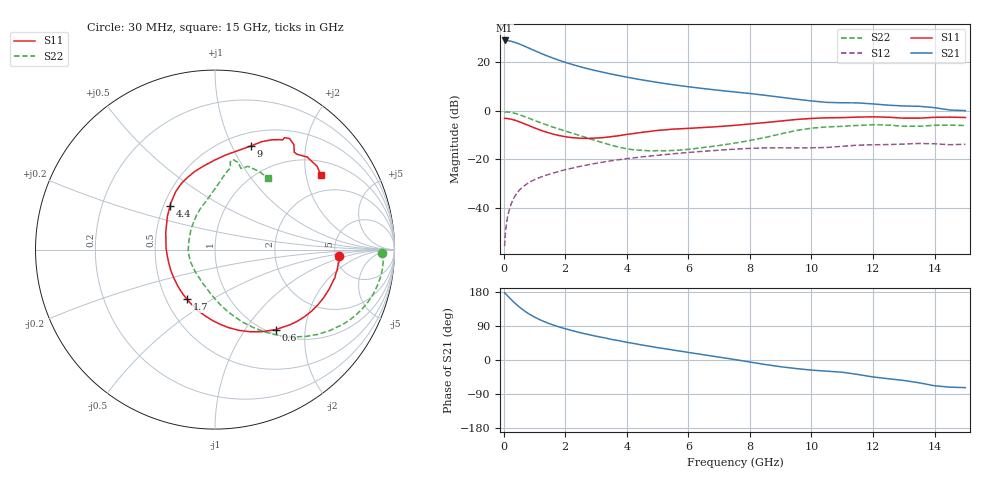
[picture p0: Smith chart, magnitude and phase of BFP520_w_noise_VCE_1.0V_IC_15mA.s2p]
! Infineon Technologies  Discrete & RF Semiconductors
! BFP520
! VCE =  1.0 V,  IC =  15 mA
! Common Emitter S-Parameters:  Oct 2015
# GHz  S  MA  R  50
!  f  S11  S21  S12  S22
! GHz  MAG  ANG  MAG  ANG  MAG  ANG  MAG  ANG
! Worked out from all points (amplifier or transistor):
!   109 points, 30 MHz to 15 GHz, reference 50 ohm
!   highest |S21| = 29.0 dB at 30 MHz (marker M1)
!   |S21| within 3 dB of that: start of sweep to 790.5 MHz
!   unconditionally stable (mu >= 1): 2.888 GHz to end of sweep
!   at 450 MHz: K = 0.30, MSG = 30.7 dB, |S12| = -33.7 dB
!   at 4 GHz: K = 1.10, MAG = 14.9 dB, |S12| = -19.8 dB
!   at 15 GHz: K = 1.28, MAG = 3.8 dB, |S12| = -13.9 dB
!   lowest NFmin = 1.81 dB at 900 MHz
!   S11 on the Smith chart (normalised r, x): 30 MHz: 5.40, -0.73; 600 MHz: 1.08, -1.40; 1.7 GHz: 0.64, -0.39; 4.4 GHz: 0.54, +0.30; 9 GHz: 0.64, +1.18; 15 GHz: 1.40, +2.43
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0.03  0.6924 -2.9  28.02 177.6  0.0016 93.2  0.9309 -1.0
0.05  0.6949 -4.3  27.85 175.4  0.0027 91.7  0.936 -2.4
0.12  0.6859 -11.6  27.75 169.9  0.0061 85.2  0.9383 -7.2
0.2  0.6732 -19.0  27.28 163.1  0.0098 81.7  0.9269 -12.5
0.35  0.6379 -32.6  25.76 151.2  0.0166 75.8  0.8848 -21.8
0.45  0.6081 -41.0  24.47 143.9  0.0206 72.3  0.8479 -27.4
0.6  0.5597 -52.8  22.43 134.0  0.026 68.1  0.7856 -34.9
0.8  0.4967 -67.1  19.72 122.7  0.0322 63.6  0.7031 -43.4
1  0.4413 -80.1  17.34 113.4  0.0376 60.4  0.6282 -50.4
1.1  0.4171 -86.1  16.27 109.3  0.04 59.1  0.5943 -53.5
1.4  0.3585 -103.4  13.57 98.7  0.047 56.1  0.5064 -61.6
1.7  0.3166 -119.8  11.51 89.9  0.0536 53.6  0.4369 -68.6
2  0.2904 -135.4  9.928 82.5  0.0603 51.5  0.3794 -74.9
2.6  0.2679 -164.5  7.69 70.0  0.0733 47.2  0.2888 -87.5
3.5  0.2911 160.4  5.666 54.4  0.0925 39.8  0.1936 -112.7
4.4  0.35 135.6  4.413 41.0  0.1095 31.8  0.1527 -150.7
5.1  0.3949 122.4  3.733 31.4  0.1216 25.9  0.1489 -179.6
7.6  0.5031 89.1  2.393 0.0  0.1613 3.3  0.2189 117.4
9  0.6101 71.0  1.889 -17.8  0.171 -11.0  0.3315 90.9
10.5  0.7114 59.4  1.479 -29.5  0.1739 -19.3  0.4611 79.5
13  0.6999 50.9  1.246 -54.0  0.2045 -39.9  0.4753 72.3
15  0.7214 35.3  1 -72.9  0.2026 -56.0  0.4941 53.3
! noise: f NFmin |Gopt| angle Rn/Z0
0.45  1.82  0.2  1  0.28
0.9  1.81  0.19  5  0.3
1.9  1.97  0.18  8  0.27
2.4  1.97  0.14  17  0.27
3.5  1.91  0.1  38  0.28
